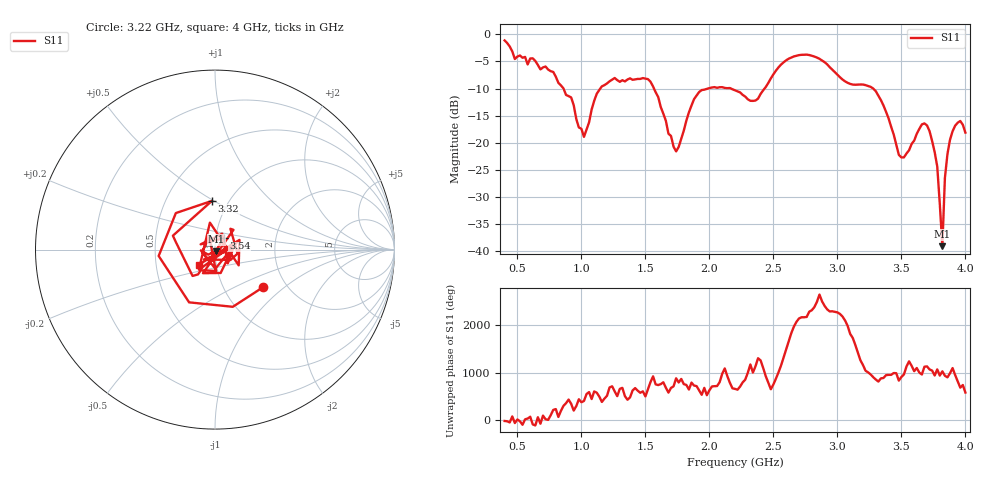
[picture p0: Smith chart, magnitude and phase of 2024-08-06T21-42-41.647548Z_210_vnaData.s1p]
!Created with skrf (http://scikit-rf.org).
# Hz S RI R 50.0
!freq ReS11 ImS11
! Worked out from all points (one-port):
!   181 points, 400 MHz to 4 GHz, reference 50 ohm
!   lowest |S11| = -39.1 dB at 3.82 GHz (marker M1), VSWR 1.02, Z = 50.7 - j0.869 ohm
!   |S11| at or under -10 dB: 860.3 MHz to 1.148 GHz (287.4 MHz wide, 28.6 % of centre); 1.567 GHz to 1.989 GHz (422.3 MHz wide, 23.7 % of centre); 3.279 GHz to end of sweep (the widest 3 of 4)
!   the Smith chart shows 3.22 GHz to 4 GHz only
!   S11 on the Smith chart (normalised r, x): 3.22 GHz: 1.52, -0.72; 3.32 GHz: 0.84, +0.49; 3.54 GHz: 1.09, +0.14; 4 GHz: 0.82, -0.14
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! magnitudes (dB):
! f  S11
! 400 MHz  -1.1
! 480 MHz  -4.6
! 620 MHz  -4.4
! 860 MHz  -10.0
! 1.02 GHz  -18.9
! 1.12 GHz  -11.0
! 1.3 GHz  -8.8
! 1.54 GHz  -8.8
! 1.72 GHz  -20.7
! 1.76 GHz  -20.8
! 1.92 GHz  -10.6
! 2.2 GHz  -10.3
! 2.36 GHz  -12.2
! 2.66 GHz  -4.1
! 3.1 GHz  -9.1
! 3.22 GHz  -9.4
! 3.32 GHz  -11.3
! 3.48 GHz  -22.2
! 3.54 GHz  -22.0
! 3.56 GHz  -21.4
! 3.66 GHz  -16.6
! 3.72 GHz  -17.9
! 3.78 GHz  -24.4
! 3.82 GHz  -39.1
! 3.84 GHz  -26.5
! 3.88 GHz  -19.4
! 3.96 GHz  -16.0
! 4 GHz  -18.1
